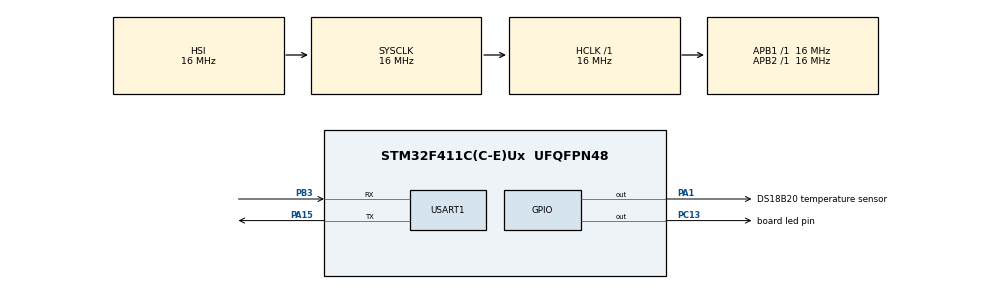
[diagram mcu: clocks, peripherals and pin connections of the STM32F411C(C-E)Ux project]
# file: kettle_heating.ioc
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Mcu.Family=STM32F4
Mcu.Name=STM32F411C(C-E)Ux
Mcu.Package=UFQFPN48
NVIC.PriorityGroup=NVIC_PRIORITYGROUP_4
NVIC.USART1_IRQn=true\:0\:0\:false\:false\:true\:true\:true\:true
PA1.GPIO_Label=DS18B20 temperature sensor
PA1.GPIO_ModeDefaultOutputPP=GPIO_MODE_OUTPUT_PP
PA1.GPIO_PuPd=GPIO_NOPULL
PA1.Signal=GPIO_Output
PA15.Mode=Asynchronous
PA15.Signal=USART1_TX
PB3.Mode=Asynchronous
PB3.Signal=USART1_RX
PC13-ANTI_TAMP.GPIO_Label=board led pin
PC13-ANTI_TAMP.Signal=GPIO_Output
ProjectManager.HeapSize=0x200
ProjectManager.StackSize=0x400
ProjectManager.TargetToolchain=CMake
RCC.AHBFreq_Value=16000000
RCC.APB1Freq_Value=16000000
RCC.APB2Freq_Value=16000000
RCC.CortexFreq_Value=16000000
RCC.HSE_VALUE=25000000
RCC.HSI_VALUE=16000000
RCC.LSE_VALUE=32768
RCC.SYSCLKFreq_VALUE=16000000
RCC.VCOOutputFreq_Value=192000000
TIM1.Prescaler=15
USART1.VirtualMode=VM_ASYNC
VP_TIM1_VS_ClockSourceINT.Mode=Internal
board=custom

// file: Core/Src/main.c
/* USER CODE BEGIN Header */
/**
 ******************************************************************************
 * @file           : main.c
 * @brief          : Main program body
 ******************************************************************************
 * @attention
 *
 * Copyright (c) 2025 STMicroelectronics.
 * All rights reserved.
 *
 * This software is licensed under terms that can be found in the LICENSE file
 * in the root directory of this software component.
 * If no LICENSE file comes with this software, it is provided AS-IS.
 *
 ******************************************************************************
 */
/* USER CODE END Header */
#include "main.h"

/* USER CODE BEGIN Includes */
#include "communication/uart.h"
#include "communication/messaging.h"
#include "temp_sensor.h"
/* USER CODE END Includes */

/* USER CODE BEGIN PD */
#define DS18B20_GPIO_PORT GPIOA
#define DS18B20_GPIO_PIN GPIO_PIN_1
/* USER CODE END PD */

TIM_HandleTypeDef htim1;

UART_HandleTypeDef huart1;

/* USER CODE BEGIN PV */
uart_comm_t uart_comm_instance; // Create an instance of the UART communication structure
/* USER CODE END PV */

void SystemClock_Config(void);
static void MX_GPIO_Init(void);
static void MX_USART1_UART_Init(void);
static void MX_TIM1_Init(void);

int main(void)
{

  /* MCU Configuration--------------------------------------------------------*/

  /* Reset of all peripherals, Initializes the Flash interface and the Systick. */
  HAL_Init();

  /* USER CODE BEGIN Init */
  uart_comm_init(&uart_comm_instance, &huart1); // Initialize the UART communication
  uint32_t message;
  float current_temperature = 0;
  uint8_t ret;
  /* USER CODE END Init */

  /* Configure the system clock */
  SystemClock_Config();

  /* Initialize all configured peripherals */
  MX_GPIO_Init();
  MX_USART1_UART_Init();
  MX_TIM1_Init();
  /* USER CODE BEGIN 2 */
  if (ds18b20_init(DS18B20_GPIO_PORT, DS18B20_GPIO_PIN) != DS18B20_OK)
  {
    Error_Handler();
  }

  if (ds18b20_set_resolution(DS18B20_RESOLUTION) != DS18B20_OK)
  {
    Error_Handler();
  }
  /* USER CODE END 2 */

  /* Infinite loop */
  /* USER CODE BEGIN WHILE */
  while (1)
  {
    HAL_GPIO_WritePin(GPIOC, GPIO_PIN_13, 0);

    HAL_Delay(250);

    ret = ds18b20_read_temperature(&current_temperature);
    if (ret == DS18B20_OK)
    {
      message = compose_current_temp_message(current_temperature);
    }
    else
    {
      // Error reading temperature or error with sensor.
      message = compose_temp_sensor_error(ret);
    }

    uart_comm_send_bytes(&uart_comm_instance, message);

    HAL_GPIO_WritePin(GPIOC, GPIO_PIN_13, 1);

    HAL_Delay(250);
    /* USER CODE END WHILE */

  }
}

void SystemClock_Config(void)
{
  RCC_OscInitTypeDef RCC_OscInitStruct = {0};
  RCC_ClkInitTypeDef RCC_ClkInitStruct = {0};

  /** Configure the main internal regulator output voltage
   */
  __HAL_RCC_PWR_CLK_ENABLE();
  __HAL_PWR_VOLTAGESCALING_CONFIG(PWR_REGULATOR_VOLTAGE_SCALE1);

  /** Initializes the RCC Oscillators according to the specified parameters
   * in the RCC_OscInitTypeDef structure.
   */
  RCC_OscInitStruct.OscillatorType = RCC_OSCILLATORTYPE_HSI;
  RCC_OscInitStruct.HSIState = RCC_HSI_ON;
  RCC_OscInitStruct.HSICalibrationValue = RCC_HSICALIBRATION_DEFAULT;
  RCC_OscInitStruct.PLL.PLLState = RCC_PLL_NONE;
  if (HAL_RCC_OscConfig(&RCC_OscInitStruct) != HAL_OK)
  {
    Error_Handler();
  }

  /** Initializes the CPU, AHB and APB buses clocks
   */
  RCC_ClkInitStruct.ClockType = RCC_CLOCKTYPE_HCLK | RCC_CLOCKTYPE_SYSCLK | RCC_CLOCKTYPE_PCLK1 | RCC_CLOCKTYPE_PCLK2;
  RCC_ClkInitStruct.SYSCLKSource = RCC_SYSCLKSOURCE_HSI;
  RCC_ClkInitStruct.AHBCLKDivider = RCC_SYSCLK_DIV1;
  RCC_ClkInitStruct.APB1CLKDivider = RCC_HCLK_DIV1;
  RCC_ClkInitStruct.APB2CLKDivider = RCC_HCLK_DIV1;

  if (HAL_RCC_ClockConfig(&RCC_ClkInitStruct, FLASH_LATENCY_0) != HAL_OK)
  {
    Error_Handler();
  }
}

static void MX_TIM1_Init(void)
{

  TIM_ClockConfigTypeDef sClockSourceConfig = {0};
  TIM_MasterConfigTypeDef sMasterConfig = {0};

  htim1.Instance = TIM1;
  htim1.Init.Prescaler = 15;
  htim1.Init.CounterMode = TIM_COUNTERMODE_UP;
  htim1.Init.Period = 65535;
  htim1.Init.ClockDivision = TIM_CLOCKDIVISION_DIV1;
  htim1.Init.RepetitionCounter = 0;
  htim1.Init.AutoReloadPreload = TIM_AUTORELOAD_PRELOAD_DISABLE;
  if (HAL_TIM_Base_Init(&htim1) != HAL_OK)
  {
    Error_Handler();
  }
  sClockSourceConfig.ClockSource = TIM_CLOCKSOURCE_INTERNAL;
  if (HAL_TIM_ConfigClockSource(&htim1, &sClockSourceConfig) != HAL_OK)
  {
    Error_Handler();
  }
  sMasterConfig.MasterOutputTrigger = TIM_TRGO_RESET;
  sMasterConfig.MasterSlaveMode = TIM_MASTERSLAVEMODE_DISABLE;
  if (HAL_TIMEx_MasterConfigSynchronization(&htim1, &sMasterConfig) != HAL_OK)
  {
    Error_Handler();
  }
  /* USER CODE BEGIN TIM1_Init 2 */
  HAL_TIM_Base_Start(&htim1);
  /* USER CODE END TIM1_Init 2 */
}

static void MX_USART1_UART_Init(void)
{

  huart1.Instance = USART1;
  huart1.Init.BaudRate = 115200;
  huart1.Init.WordLength = UART_WORDLENGTH_8B;
  huart1.Init.StopBits = UART_STOPBITS_1;
  huart1.Init.Parity = UART_PARITY_NONE;
  huart1.Init.Mode = UART_MODE_TX_RX;
  huart1.Init.HwFlowCtl = UART_HWCONTROL_NONE;
  huart1.Init.OverSampling = UART_OVERSAMPLING_16;
  if (HAL_UART_Init(&huart1) != HAL_OK)
  {
    Error_Handler();
  }
}

static void MX_GPIO_Init(void)
{
  GPIO_InitTypeDef GPIO_InitStruct = {0};

  /* GPIO Ports Clock Enable */
  __HAL_RCC_GPIOC_CLK_ENABLE();
  __HAL_RCC_GPIOA_CLK_ENABLE();
  __HAL_RCC_GPIOB_CLK_ENABLE();

  /*Configure GPIO pin Output Level */
  HAL_GPIO_WritePin(board_led_pin_GPIO_Port, board_led_pin_Pin, GPIO_PIN_RESET);

  /*Configure GPIO pin Output Level */
  HAL_GPIO_WritePin(DS18B20_temperature_sensor_GPIO_Port, DS18B20_temperature_sensor_Pin, GPIO_PIN_RESET);

  /*Configure GPIO pin : board_led_pin_Pin */
  GPIO_InitStruct.Pin = board_led_pin_Pin;
  GPIO_InitStruct.Mode = GPIO_MODE_OUTPUT_PP;
  GPIO_InitStruct.Pull = GPIO_NOPULL;
  GPIO_InitStruct.Speed = GPIO_SPEED_FREQ_LOW;
  HAL_GPIO_Init(board_led_pin_GPIO_Port, &GPIO_InitStruct);

  /*Configure GPIO pin : DS18B20_temperature_sensor_Pin */
  GPIO_InitStruct.Pin = DS18B20_temperature_sensor_Pin;
  GPIO_InitStruct.Mode = GPIO_MODE_OUTPUT_PP;
  GPIO_InitStruct.Pull = GPIO_NOPULL;
  GPIO_InitStruct.Speed = GPIO_SPEED_FREQ_LOW;
  HAL_GPIO_Init(DS18B20_temperature_sensor_GPIO_Port, &GPIO_InitStruct);

}

void Error_Handler(void)
{
  __disable_irq();
  while (1)
  {
  }
}
